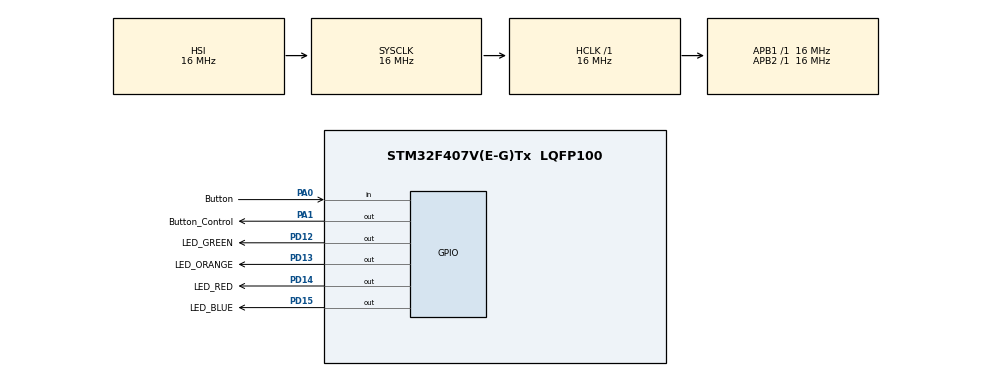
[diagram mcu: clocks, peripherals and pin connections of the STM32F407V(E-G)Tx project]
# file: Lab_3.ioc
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Mcu.Family=STM32F4
Mcu.Name=STM32F407V(E-G)Tx
Mcu.Package=LQFP100
NVIC.PriorityGroup=NVIC_PRIORITYGROUP_4
PA0-WKUP.GPIO_Label=Button
PA0-WKUP.Signal=GPIO_Input
PA1.GPIO_Label=Button_Control
PA1.Signal=GPIO_Output
PD12.GPIO_Label=LED_GREEN
PD12.Signal=GPIO_Output
PD13.GPIO_Label=LED_ORANGE
PD13.Signal=GPIO_Output
PD14.GPIO_Label=LED_RED
PD14.Signal=GPIO_Output
PD15.GPIO_Label=LED_BLUE
PD15.Signal=GPIO_Output
ProjectManager.HeapSize=0x200
ProjectManager.StackSize=0x400
ProjectManager.TargetToolchain=MDK-ARM V5.32
RCC.AHBFreq_Value=16000000
RCC.APB1Freq_Value=16000000
RCC.APB2Freq_Value=16000000
RCC.CortexFreq_Value=16000000
RCC.HSE_VALUE=25000000
RCC.HSI_VALUE=16000000
RCC.LSE_VALUE=32768
RCC.SYSCLKFreq_VALUE=16000000
RCC.VCOOutputFreq_Value=192000000
board=custom

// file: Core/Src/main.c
/* USER CODE BEGIN Header */
/**
  ******************************************************************************
  * @file           : main.c
  * @brief          : Main program body
  ******************************************************************************
  * @attention
  *
  * Copyright (c) 2022 STMicroelectronics.
  * All rights reserved.
  *
  * This software is licensed under terms that can be found in the LICENSE file
  * in the root directory of this software component.
  * If no LICENSE file comes with this software, it is provided AS-IS.
  *
  ******************************************************************************
  */
/* USER CODE END Header */
#include "main.h"
#include "gpio.h"

/* USER CODE BEGIN PV */
 uint8_t var1byte = 0;
 uint16_t var2byte = 0;
 uint32_t var4byte = 0;
 int8_t var1byte_pm = 0;
 int16_t var2byte_pm = 0;
 int32_t var4byte_pm = 0;
 float var_4byte_fp = 0;

 int8_t over_time = 1;
 GPIO_PinState button_current_state = GPIO_PIN_RESET;
 GPIO_PinState button_previous_state = GPIO_PIN_RESET;
/* USER CODE END PV */

void SystemClock_Config(void);

int main(void)
{

  /* MCU Configuration--------------------------------------------------------*/

  /* Reset of all peripherals, Initializes the Flash interface and the Systick. */
  HAL_Init();

  /* Configure the system clock */
  SystemClock_Config();

  /* Initialize all configured peripherals */
  MX_GPIO_Init();
  /* USER CODE BEGIN 2 */
  HAL_GPIO_WritePin(LED_GREEN_GPIO_Port, LED_GREEN_Pin, GPIO_PIN_RESET);
  HAL_GPIO_WritePin(LED_ORANGE_GPIO_Port, LED_ORANGE_Pin, GPIO_PIN_RESET);
  HAL_GPIO_WritePin(LED_RED_GPIO_Port, LED_RED_Pin, GPIO_PIN_RESET);
  HAL_GPIO_WritePin(LED_BLUE_GPIO_Port, LED_BLUE_Pin, GPIO_PIN_RESET);

  /* USER CODE END 2 */

  /* Infinite loop */
  /* USER CODE BEGIN WHILE */
  while (1)
  {
    button_current_state = HAL_GPIO_ReadPin(BUTTON_GPIO_Port, BUTTON_Pin);
    if (button_current_state == GPIO_PIN_SET && button_previous_state == GPIO_PIN_RESET)
    {
    over_time ++;
    if(over_time > 10)
    {
		over_time = 1;
		}
		}
		button_previous_state = button_current_state;

		HAL_GPIO_TogglePin(LED_RED_GPIO_Port, LED_RED_Pin);
		HAL_Delay(over_time * 100);
		HAL_GPIO_TogglePin(LED_RED_GPIO_Port, LED_RED_Pin);

		HAL_GPIO_TogglePin(LED_ORANGE_GPIO_Port, LED_ORANGE_Pin);
		HAL_Delay(over_time * 100);
		HAL_GPIO_TogglePin(LED_ORANGE_GPIO_Port, LED_ORANGE_Pin);

		HAL_GPIO_TogglePin(LED_GREEN_GPIO_Port, LED_GREEN_Pin);
		HAL_Delay(over_time * 100);
		HAL_GPIO_TogglePin(LED_GREEN_GPIO_Port, LED_GREEN_Pin);

		HAL_GPIO_TogglePin(LED_BLUE_GPIO_Port, LED_BLUE_Pin);
		HAL_Delay(over_time * 100);
		HAL_GPIO_TogglePin(LED_BLUE_GPIO_Port, LED_BLUE_Pin);

    /* USER CODE END WHILE */

  }
}

void SystemClock_Config(void)
{
  RCC_OscInitTypeDef RCC_OscInitStruct = {0};
  RCC_ClkInitTypeDef RCC_ClkInitStruct = {0};

  /** Configure the main internal regulator output voltage
  */
  __HAL_RCC_PWR_CLK_ENABLE();
  __HAL_PWR_VOLTAGESCALING_CONFIG(PWR_REGULATOR_VOLTAGE_SCALE1);

  /** Initializes the RCC Oscillators according to the specified parameters
  * in the RCC_OscInitTypeDef structure.
  */
  RCC_OscInitStruct.OscillatorType = RCC_OSCILLATORTYPE_HSI;
  RCC_OscInitStruct.HSIState = RCC_HSI_ON;
  RCC_OscInitStruct.HSICalibrationValue = RCC_HSICALIBRATION_DEFAULT;
  RCC_OscInitStruct.PLL.PLLState = RCC_PLL_NONE;
  if (HAL_RCC_OscConfig(&RCC_OscInitStruct) != HAL_OK)
  {
    Error_Handler();
  }

  /** Initializes the CPU, AHB and APB buses clocks
  */
  RCC_ClkInitStruct.ClockType = RCC_CLOCKTYPE_HCLK|RCC_CLOCKTYPE_SYSCLK
                              |RCC_CLOCKTYPE_PCLK1|RCC_CLOCKTYPE_PCLK2;
  RCC_ClkInitStruct.SYSCLKSource = RCC_SYSCLKSOURCE_HSI;
  RCC_ClkInitStruct.AHBCLKDivider = RCC_SYSCLK_DIV1;
  RCC_ClkInitStruct.APB1CLKDivider = RCC_HCLK_DIV1;
  RCC_ClkInitStruct.APB2CLKDivider = RCC_HCLK_DIV1;

  if (HAL_RCC_ClockConfig(&RCC_ClkInitStruct, FLASH_LATENCY_0) != HAL_OK)
  {
    Error_Handler();
  }
}

void Error_Handler(void)
{
  __disable_irq();
  while (1)
  {
  }
}
